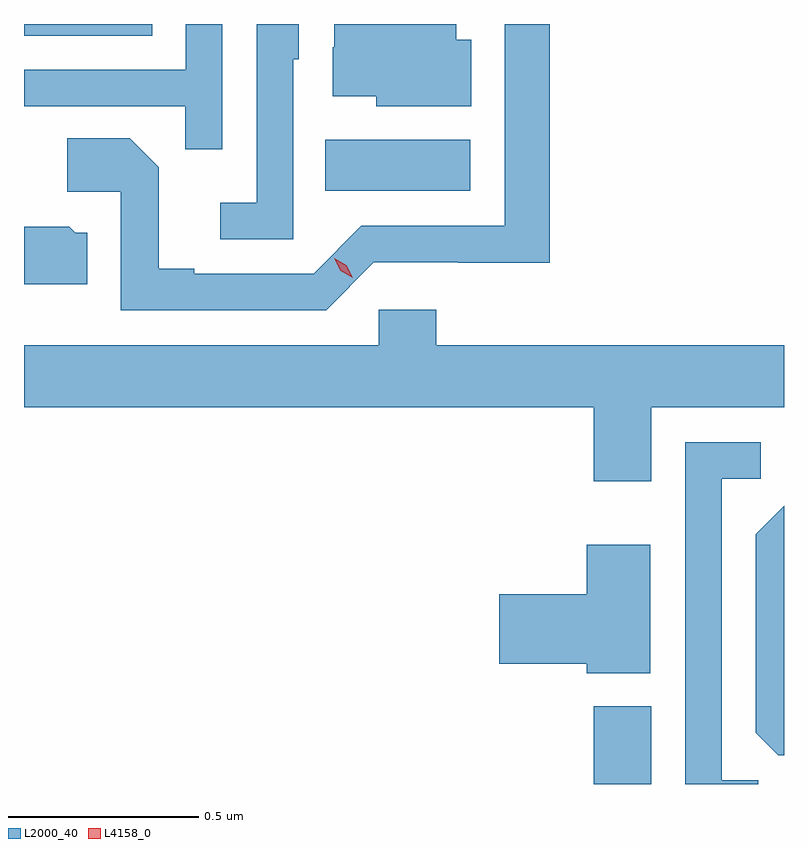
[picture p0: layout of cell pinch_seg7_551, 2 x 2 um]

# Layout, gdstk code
import gdstk
lib = gdstk.Library(unit=1e-6, precision=1e-09)
def R(c, l, rs):  # rectangles x0, y0, x1, y1
    for r in rs: c.add(gdstk.rectangle(r[:2], r[2:], *l))
def P(c, l, *ps):  # polygons
    for p in ps: c.add(gdstk.Polygon(p, *l))
L2000_40 = (2000, 40)
L4158_0 = (4158, 0)

pinch_seg7_551 = lib.new_cell('pinch_seg7_551')
R(pinch_seg7_551, L2000_40, [(150.284,1066.225,150.436,1066.429), (149.578,1067.786,149.959,1067.92), (148.785,1068.194,149.122,1068.225)])
P(pinch_seg7_551, L2000_40, [(149.493,1068.132),(149.508,1068.132),(149.508,1068.225),(149.397,1068.225),(149.397,1067.755),(149.301,1067.755),(149.301,1067.658),(149.493,1067.658)],
  [(149.706,1067.598),(149.928,1067.598),(149.928,1067.597),(150.169,1067.597),(150.169,1068.225),(150.05,1068.225),(150.05,1067.694),(149.673,1067.694),(149.547,1067.568),(149.233,1067.568),(149.233,1067.581),(149.139,1067.581),(149.139,1067.848),(149.063,1067.924),(148.899,1067.924),(148.899,1067.784),(149.04,1067.784),(149.04,1067.472),(149.58,1067.472)],
  [(149.307,1068.225),(149.211,1068.225),(149.211,1068.105),(148.785,1068.105),(148.785,1068.009),(149.209,1068.009),(149.209,1067.896),(149.307,1067.896)],
  [(149.962,1068.184),(149.923,1068.184),(149.923,1068.225),(149.601,1068.225),(149.601,1068.164),(149.597,1068.164),(149.597,1068.035),(149.712,1068.035),(149.712,1068.008),(149.962,1068.008)],
  [(148.951,1067.676),(148.92,1067.676),(148.904,1067.692),(148.785,1067.692),(148.785,1067.54),(148.951,1067.54)],
  [(150.436,1067.216),(150.785,1067.216),(150.785,1067.38),(149.87,1067.38),(149.87,1067.473),(149.718,1067.473),(149.718,1067.38),(148.785,1067.38),(148.785,1067.216),(150.284,1067.216),(150.284,1067.022),(150.436,1067.022)],
  [(150.717,1066.235),(150.621,1066.235),(150.621,1067.028),(150.724,1067.028),(150.724,1067.124),(150.525,1067.124),(150.525,1066.225),(150.717,1066.225)],
  [(150.785,1066.957),(150.711,1066.882),(150.711,1066.36),(150.77,1066.301),(150.785,1066.301)],
  [(150.433,1066.855),(150.266,1066.855),(150.266,1066.724),(150.036,1066.724),(150.036,1066.541),(150.266,1066.541),(150.266,1066.517),(150.433,1066.517)])
P(pinch_seg7_551, L4158_0, [(149.65,1067.557),(149.618,1067.576),(149.602,1067.609),(149.602,1067.609),(149.602,1067.609),(149.633,1067.59),(149.65,1067.557),(149.65,1067.557)])

lib.write_gds('pinch_seg7_551.gds')
